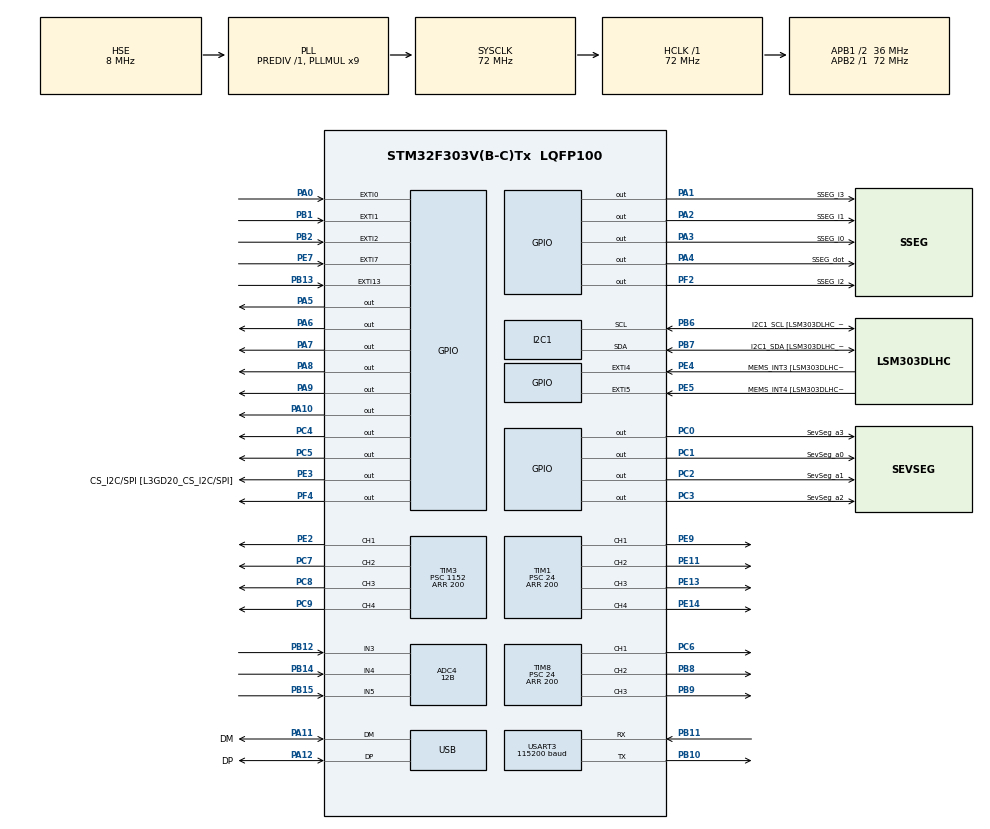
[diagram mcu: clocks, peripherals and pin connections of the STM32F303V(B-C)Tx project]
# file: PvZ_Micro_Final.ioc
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ADC4.Channel-2\#ChannelRegularConversion=ADC_CHANNEL_3
ADC4.Channel-3\#ChannelRegularConversion=ADC_CHANNEL_4
ADC4.Channel-5\#ChannelRegularConversion=ADC_CHANNEL_5
ADC4.ClockPrescaler=ADC_CLOCK_ASYNC_DIV1
ADC4.ContinuousConvMode=ENABLE
ADC4.DMAContinuousRequests=ENABLE
ADC4.DataAlign=ADC_DATAALIGN_RIGHT
ADC4.DiscontinuousConvMode=DISABLE
ADC4.EOCSelection=ADC_EOC_SINGLE_CONV
ADC4.EnableAnalogWatchDog1=false
ADC4.EnableAnalogWatchDog2=false
ADC4.EnableAnalogWatchDog3=false
ADC4.EnableInjectedConversion=ENABLE
ADC4.EnableRegularConversion=ENABLE
ADC4.ExternalTrigConv=ADC_SOFTWARE_START
ADC4.ExternalTrigConvEdge=ADC_EXTERNALTRIGCONVEDGE_NONE
ADC4.InjNumberOfConversion=0
ADC4.LowPowerAutoWait=DISABLE
ADC4.NbrOfConversion=3
ADC4.NbrOfConversionFlag=1
ADC4.Offset-2\#ChannelRegularConversion=0
ADC4.Offset-3\#ChannelRegularConversion=0
ADC4.Offset-5\#ChannelRegularConversion=0
ADC4.OffsetNumber-2\#ChannelRegularConversion=ADC_OFFSET_NONE
ADC4.OffsetNumber-3\#ChannelRegularConversion=ADC_OFFSET_NONE
ADC4.OffsetNumber-5\#ChannelRegularConversion=ADC_OFFSET_NONE
ADC4.Overrun=ADC_OVR_DATA_OVERWRITTEN
ADC4.Rank-2\#ChannelRegularConversion=1
ADC4.Rank-3\#ChannelRegularConversion=2
ADC4.Rank-5\#ChannelRegularConversion=3
ADC4.Resolution=ADC_RESOLUTION_12B
ADC4.SamplingTime-2\#ChannelRegularConversion=ADC_SAMPLETIME_601CYCLES_5
ADC4.SamplingTime-3\#ChannelRegularConversion=ADC_SAMPLETIME_601CYCLES_5
ADC4.SamplingTime-5\#ChannelRegularConversion=ADC_SAMPLETIME_601CYCLES_5
ADC4.ScanConvMode=ADC_SCAN_ENABLE
Dma.ADC4.0.Direction=DMA_PERIPH_TO_MEMORY
Dma.ADC4.0.Instance=DMA2_Channel2
Dma.ADC4.0.MemDataAlignment=DMA_MDATAALIGN_HALFWORD
Dma.ADC4.0.MemInc=DMA_MINC_ENABLE
Dma.ADC4.0.Mode=DMA_CIRCULAR
Dma.ADC4.0.PeriphDataAlignment=DMA_PDATAALIGN_HALFWORD
Dma.ADC4.0.PeriphInc=DMA_PINC_DISABLE
Dma.ADC4.0.Priority=DMA_PRIORITY_LOW
Dma.Request0=ADC4
I2C1.Timing-I2C=0x2000090E
Mcu.Family=STM32F3
Mcu.Name=STM32F303V(B-C)Tx
Mcu.Package=LQFP100
NVIC.DMA2_Channel2_IRQn=true\:0\:0\:false\:false\:true\:false
NVIC.EXTI0_IRQn=true\:2\:0\:true\:false\:true\:true
NVIC.EXTI15_10_IRQn=true\:2\:0\:true\:false\:true\:true
NVIC.EXTI1_IRQn=true\:2\:0\:true\:false\:true\:true
NVIC.EXTI2_TSC_IRQn=true\:2\:0\:true\:false\:true\:true
NVIC.EXTI9_5_IRQn=true\:2\:0\:true\:false\:true\:true
NVIC.PriorityGroup=NVIC_PRIORITYGROUP_2
NVIC.TIM2_IRQn=true\:2\:0\:true\:false\:true\:true
NVIC.TIM3_IRQn=true\:1\:0\:true\:false\:true\:true
NVIC.TIM4_IRQn=true\:3\:0\:true\:false\:true\:true
NVIC.USART3_IRQn=true\:0\:0\:false\:false\:true\:true
PA0.GPIO_PuPd=GPIO_PULLDOWN
PA0.Signal=GPXTI0
PA1.GPIO_Label=SSEG_i3
PA1.Signal=GPIO_Output
PA10.Signal=GPIO_Output
PA11.GPIO_Label=DM
PA11.Mode=Device
PA11.Signal=USB_DM
PA12.GPIO_Label=DP
PA12.Mode=Device
PA12.Signal=USB_DP
PA13.GPIO_Label=SWDIO
PA13.Mode=Serial_Wire
PA13.Signal=SYS_JTMS-SWDIO
PA14.GPIO_Label=SWCLK
PA14.Mode=Serial_Wire
PA14.Signal=SYS_JTCK-SWCLK
PA2.GPIO_Label=SSEG_i1
PA2.Signal=GPIO_Output
PA3.GPIO_Label=SSEG_i0
PA3.Signal=GPIO_Output
PA4.GPIO_Label=SSEG_dot
PA4.Signal=GPIO_Output
PA5.Signal=GPIO_Output
PA6.Signal=GPIO_Output
PA7.Signal=GPIO_Output
PA8.Signal=GPIO_Output
PA9.Signal=GPIO_Output
PB1.GPIO_PuPd=GPIO_PULLDOWN
PB1.Signal=GPXTI1
PB10.Mode=Asynchronous
PB10.Signal=USART3_TX
PB11.Mode=Asynchronous
PB11.Signal=USART3_RX
PB12.Mode=IN3-Single-Ended
PB12.Signal=ADC4_IN3
PB13.GPIO_PuPd=GPIO_PULLDOWN
PB13.Signal=GPXTI13
PB14.Mode=IN4-Single-Ended
PB14.Signal=ADC4_IN4
PB15.Mode=IN5-Single-Ended
PB15.Signal=ADC4_IN5
PB2.GPIO_PuPd=GPIO_PULLDOWN
PB2.Signal=GPXTI2
PB3.GPIO_Label=SWO
PB3.Signal=SYS_JTDO-TRACESWO
PB6.GPIO_Label=I2C1_SCL [LSM303DLHC_SCL]
PB6.Mode=I2C
PB6.Signal=I2C1_SCL
PB7.GPIO_Label=I2C1_SDA [LSM303DLHC_SDA]
PB7.Mode=I2C
PB7.Signal=I2C1_SDA
PB8.Signal=S_TIM8_CH2
PB9.Signal=S_TIM8_CH3
PC0.GPIO_Label=SevSeg_a3
PC0.Signal=GPIO_Output
PC1.GPIO_Label=SevSeg_a0
PC1.Signal=GPIO_Output
PC14-OSC32_IN.GPIO_Label=OSC32_IN
PC14-OSC32_IN.Signal=RCC_OSC32_IN
PC15-OSC32_OUT.GPIO_Label=OSC32_OUT
PC15-OSC32_OUT.Signal=RCC_OSC32_OUT
PC2.GPIO_Label=SevSeg_a1
PC2.Signal=GPIO_Output
PC3.GPIO_Label=SevSeg_a2
PC3.Signal=GPIO_Output
PC4.Signal=GPIO_Output
PC5.GPIO_PuPd=GPIO_PULLDOWN
PC5.Signal=GPIO_Output
PC6.Signal=S_TIM8_CH1
PC7.Signal=S_TIM3_CH2
PC8.Signal=S_TIM3_CH3
PC9.Signal=S_TIM3_CH4
PE11.Signal=S_TIM1_CH2
PE13.Signal=S_TIM1_CH3
PE14.Signal=S_TIM1_CH4
PE2.Signal=S_TIM3_CH1
PE3.GPIO_Label=CS_I2C/SPI [L3GD20_CS_I2C/SPI]
PE3.Signal=GPIO_Output
PE4.GPIO_Label=MEMS_INT3 [LSM303DLHC_INT1]
PE4.GPIO_ModeDefaultEXTI=GPIO_MODE_EVT_RISING
PE4.Signal=GPXTI4
PE5.GPIO_Label=MEMS_INT4 [LSM303DLHC_INT2]
PE5.GPIO_ModeDefaultEXTI=GPIO_MODE_EVT_RISING
PE5.Signal=GPXTI5
PE7.GPIO_PuPd=GPIO_PULLDOWN
PE7.Signal=GPXTI7
PE9.Signal=S_TIM1_CH1
PF0-OSC_IN.GPIO_Label=OSC_IN
PF0-OSC_IN.Mode=HSE-External-Clock-Source
PF0-OSC_IN.Signal=RCC_OSC_IN
PF1-OSC_OUT.GPIO_Label=OSC_OUT
PF1-OSC_OUT.Signal=RCC_OSC_OUT
PF2.GPIO_Label=SSEG_i2
PF2.Signal=GPIO_Output
PF4.Signal=GPIO_Output
ProjectManager.HeapSize=0x200
ProjectManager.StackSize=0x400
ProjectManager.TargetToolchain=SW4STM32
RCC.AHBFreq_Value=72000000
RCC.APB1CLKDivider=RCC_HCLK_DIV2
RCC.APB1Freq_Value=36000000
RCC.APB1TimFreq_Value=72000000
RCC.APB2Freq_Value=72000000
RCC.APB2TimFreq_Value=72000000
RCC.CortexFreq_Value=72000000
RCC.HCLKFreq_Value=72000000
RCC.HSE_VALUE=8000000
RCC.HSI_VALUE=8000000
RCC.LSE_VALUE=32768
RCC.PLLMUL=RCC_PLL_MUL9
RCC.PRESCALERUSB=RCC_USBCLKSOURCE_PLL_DIV1_5
RCC.SYSCLKFreq_VALUE=72000000
RCC.SYSCLKSourceVirtual=RCC_SYSCLKSOURCE_PLLCLK
RCC.USBFreq_Value=48000000
SH.S_TIM1_CH1.0=TIM1_CH1,PWM Generation1 CH1
SH.S_TIM1_CH2.0=TIM1_CH2,PWM Generation2 CH2
SH.S_TIM1_CH3.0=TIM1_CH3,PWM Generation3 CH3
SH.S_TIM1_CH4.0=TIM1_CH4,PWM Generation4 CH4
SH.S_TIM3_CH1.0=TIM3_CH1,PWM Generation1 CH1
SH.S_TIM3_CH2.0=TIM3_CH2,PWM Generation2 CH2
SH.S_TIM3_CH3.0=TIM3_CH3,PWM Generation3 CH3
SH.S_TIM3_CH4.0=TIM3_CH4,PWM Generation4 CH4
SH.S_TIM8_CH1.0=TIM8_CH1,PWM Generation1 CH1
SH.S_TIM8_CH2.0=TIM8_CH2,PWM Generation2 CH2
SH.S_TIM8_CH3.0=TIM8_CH3,PWM Generation3 CH3
TIM1.Channel-PWM\ Generation1\ CH1=TIM_CHANNEL_1
TIM1.Channel-PWM\ Generation2\ CH2=TIM_CHANNEL_2
TIM1.Channel-PWM\ Generation3\ CH3=TIM_CHANNEL_3
TIM1.Channel-PWM\ Generation4\ CH4=TIM_CHANNEL_4
TIM1.Period=200
TIM1.Prescaler=24
TIM1.RepetitionCounter=59999
TIM2.Period=63999
TIM2.Prescaler=1124
TIM3.Channel-PWM\ Generation1\ CH1=TIM_CHANNEL_1
TIM3.Channel-PWM\ Generation2\ CH2=TIM_CHANNEL_2
TIM3.Channel-PWM\ Generation3\ CH3=TIM_CHANNEL_3
TIM3.Channel-PWM\ Generation4\ CH4=TIM_CHANNEL_4
TIM3.Period=200
TIM3.Prescaler=1152
TIM4.Period=59999
TIM4.Prescaler=29
TIM8.Channel-PWM\ Generation1\ CH1=TIM_CHANNEL_1
TIM8.Channel-PWM\ Generation2\ CH2=TIM_CHANNEL_2
TIM8.Channel-PWM\ Generation3\ CH3=TIM_CHANNEL_3
TIM8.Period=200
TIM8.Prescaler=24
USART3.BaudRate=115200
USART3.Parity=PARITY_NONE
USART3.VirtualMode-Asynchronous=VM_ASYNC
VP_TIM1_VS_ClockSourceINT.Mode=Internal
VP_TIM2_VS_ClockSourceINT.Mode=Internal
VP_TIM3_VS_ClockSourceINT.Mode=Internal
VP_TIM4_VS_ClockSourceINT.Mode=Internal
VP_TIM8_VS_ClockSourceINT.Mode=Internal
board=STM32F3DISCOVERY

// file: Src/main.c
/**
  ******************************************************************************
  * @file           : main.c
  * @brief          : Main program body
  ******************************************************************************
  ** This notice applies to any and all portions of this file
  * that are not between comment pairs USER CODE BEGIN and
  * USER CODE END. Other portions of this file, whether
  * inserted by the user or by software development tools
  * are owned by their respective copyright owners.
  *
  * COPYRIGHT(c) 2019 STMicroelectronics
  *
  * Redistribution and use in source and binary forms, with or without modification,
  * are permitted provided that the following conditions are met:
  *   1. Redistributions of source code must retain the above copyright notice,
  *      this list of conditions and the following disclaimer.
  *   2. Redistributions in binary form must reproduce the above copyright notice,
  *      this list of conditions and the following disclaimer in the documentation
  *      and/or other materials provided with the distribution.
  *   3. Neither the name of STMicroelectronics nor the names of its contributors
  *      may be used to endorse or promote products derived from this software
  *      without specific prior written permission.
  *
  * THIS SOFTWARE IS PROVIDED BY THE COPYRIGHT HOLDERS AND CONTRIBUTORS "AS IS"
  * AND ANY EXPRESS OR IMPLIED WARRANTIES, INCLUDING, BUT NOT LIMITED TO, THE
  * IMPLIED WARRANTIES OF MERCHANTABILITY AND FITNESS FOR A PARTICULAR PURPOSE ARE
  * DISCLAIMED. IN NO EVENT SHALL THE COPYRIGHT HOLDER OR CONTRIBUTORS BE LIABLE
  * FOR ANY DIRECT, INDIRECT, INCIDENTAL, SPECIAL, EXEMPLARY, OR CONSEQUENTIAL
  * DAMAGES (INCLUDING, BUT NOT LIMITED TO, PROCUREMENT OF SUBSTITUTE GOODS OR
  * SERVICES; LOSS OF USE, DATA, OR PROFITS; OR BUSINESS INTERRUPTION) HOWEVER
  * CAUSED AND ON ANY THEORY OF LIABILITY, WHETHER IN CONTRACT, STRICT LIABILITY,
  * OR TORT (INCLUDING NEGLIGENCE OR OTHERWISE) ARISING IN ANY WAY OUT OF THE USE
  * OF THIS SOFTWARE, EVEN IF ADVISED OF THE POSSIBILITY OF SUCH DAMAGE.
  *
  ******************************************************************************
  */
#include "main.h"
#include "stm32f3xx_hal.h"
#include "adc.h"
#include "dma.h"
#include "i2c.h"
#include "tim.h"
#include "usart.h"
#include "usb.h"
#include "gpio.h"

/* USER CODE BEGIN Includes */
#include "LiquidCrystal.h"
#include "ui.h"
#include "gameBase.h"
/* USER CODE END Includes */

/* USER CODE BEGIN PV */
/* Private variables ---------------------------------------------------------*/
//UART

#ifdef __GNUC__
	#define PUTCHAR_PROTOTYPE int __io_putchar(int ch)
#else
	#define PUTCHAR_PROTOTYPE int fputc(int ch, FILE *f)
#endif

PUTCHAR_PROTOTYPE
{
	HAL_UART_Transmit(&huart3, (uint8_t *)&ch, 1, 1000); // change &uart1 accordingly
	return ch;
}
/* USER CODE END PV */

void SystemClock_Config(void);

/* USER CODE BEGIN PFP */
/* Private function prototypes -----------------------------------------------*/

/* USER CODE END PFP */

/* USER CODE BEGIN 0 */
uint16_t potanLightRand[3];
uint8_t uartRecivedData;
/* USER CODE END 0 */

int main(void)
{

  /* MCU Configuration----------------------------------------------------------*/

  /* Reset of all peripherals, Initializes the Flash interface and the Systick. */
  HAL_Init();

  /* Configure the system clock */
  SystemClock_Config();

  /* Initialize all configured peripherals */
  MX_GPIO_Init();
  MX_DMA_Init();
  MX_I2C1_Init();
  MX_USB_PCD_Init();
  MX_TIM2_Init();
  MX_TIM3_Init();
  MX_ADC4_Init();
  MX_USART3_UART_Init();
  MX_TIM4_Init();
  MX_TIM1_Init();
  MX_TIM8_Init();
  /* USER CODE BEGIN 2 */

	HAL_TIM_PWM_Start(&htim1, TIM_CHANNEL_1);
	HAL_TIM_PWM_Start(&htim1, TIM_CHANNEL_2);
	HAL_TIM_PWM_Start(&htim1, TIM_CHANNEL_3);
	HAL_TIM_PWM_Start(&htim1, TIM_CHANNEL_4);

	HAL_TIM_PWM_Start(&htim3, TIM_CHANNEL_1);
	HAL_TIM_PWM_Start(&htim3, TIM_CHANNEL_2);
	HAL_TIM_PWM_Start(&htim3, TIM_CHANNEL_3);
	HAL_TIM_PWM_Start(&htim3, TIM_CHANNEL_4);

	HAL_TIM_PWM_Start(&htim8, TIM_CHANNEL_1);
	HAL_TIM_PWM_Start(&htim8, TIM_CHANNEL_2);
	HAL_TIM_PWM_Start(&htim8, TIM_CHANNEL_3);

  LiquidCrystal(GPIOD, GPIO_PIN_8, GPIO_PIN_9, GPIO_PIN_10, GPIO_PIN_11, GPIO_PIN_12, GPIO_PIN_13, GPIO_PIN_14);
  begin(20,4);
  lcd_inital();

  HAL_TIM_Base_Start_IT(&htim2);
  HAL_TIM_Base_Start_IT(&htim3);
  HAL_TIM_Base_Start_IT(&htim4);
  HAL_UART_Receive_IT(&huart3, &uartRecivedData, 1);

  HAL_ADC_Start_DMA(&hadc4, potanLightRand, 3);

  //----------------------
  /* USER CODE END 2 */

  /* Infinite loop */
  while (1)
  {

  }

}

void SystemClock_Config(void)
{

  RCC_OscInitTypeDef RCC_OscInitStruct;
  RCC_ClkInitTypeDef RCC_ClkInitStruct;
  RCC_PeriphCLKInitTypeDef PeriphClkInit;

    /**Initializes the CPU, AHB and APB busses clocks
    */
  RCC_OscInitStruct.OscillatorType = RCC_OSCILLATORTYPE_HSI|RCC_OSCILLATORTYPE_HSE;
  RCC_OscInitStruct.HSEState = RCC_HSE_BYPASS;
  RCC_OscInitStruct.HSEPredivValue = RCC_HSE_PREDIV_DIV1;
  RCC_OscInitStruct.HSIState = RCC_HSI_ON;
  RCC_OscInitStruct.HSICalibrationValue = 16;
  RCC_OscInitStruct.PLL.PLLState = RCC_PLL_ON;
  RCC_OscInitStruct.PLL.PLLSource = RCC_PLLSOURCE_HSE;
  RCC_OscInitStruct.PLL.PLLMUL = RCC_PLL_MUL9;
  if (HAL_RCC_OscConfig(&RCC_OscInitStruct) != HAL_OK)
  {
    _Error_Handler(__FILE__, __LINE__);
  }

    /**Initializes the CPU, AHB and APB busses clocks
    */
  RCC_ClkInitStruct.ClockType = RCC_CLOCKTYPE_HCLK|RCC_CLOCKTYPE_SYSCLK
                              |RCC_CLOCKTYPE_PCLK1|RCC_CLOCKTYPE_PCLK2;
  RCC_ClkInitStruct.SYSCLKSource = RCC_SYSCLKSOURCE_PLLCLK;
  RCC_ClkInitStruct.AHBCLKDivider = RCC_SYSCLK_DIV1;
  RCC_ClkInitStruct.APB1CLKDivider = RCC_HCLK_DIV2;
  RCC_ClkInitStruct.APB2CLKDivider = RCC_HCLK_DIV1;

  if (HAL_RCC_ClockConfig(&RCC_ClkInitStruct, FLASH_LATENCY_2) != HAL_OK)
  {
    _Error_Handler(__FILE__, __LINE__);
  }

  PeriphClkInit.PeriphClockSelection = RCC_PERIPHCLK_USB|RCC_PERIPHCLK_USART3
                              |RCC_PERIPHCLK_I2C1|RCC_PERIPHCLK_TIM1
                              |RCC_PERIPHCLK_TIM8|RCC_PERIPHCLK_ADC34;
  PeriphClkInit.Usart3ClockSelection = RCC_USART3CLKSOURCE_PCLK1;
  PeriphClkInit.Adc34ClockSelection = RCC_ADC34PLLCLK_DIV1;
  PeriphClkInit.I2c1ClockSelection = RCC_I2C1CLKSOURCE_HSI;
  PeriphClkInit.USBClockSelection = RCC_USBCLKSOURCE_PLL_DIV1_5;
  PeriphClkInit.Tim1ClockSelection = RCC_TIM1CLK_HCLK;
  PeriphClkInit.Tim8ClockSelection = RCC_TIM8CLK_HCLK;
  if (HAL_RCCEx_PeriphCLKConfig(&PeriphClkInit) != HAL_OK)
  {
    _Error_Handler(__FILE__, __LINE__);
  }

    /**Configure the Systick interrupt time
    */
  HAL_SYSTICK_Config(HAL_RCC_GetHCLKFreq()/1000);

    /**Configure the Systick
    */
  HAL_SYSTICK_CLKSourceConfig(SYSTICK_CLKSOURCE_HCLK);

  /* SysTick_IRQn interrupt configuration */
  HAL_NVIC_SetPriority(SysTick_IRQn, 0, 0);
}

void _Error_Handler(char *file, int line)
{
  while(1)
  {
  }
}

/************************ (C) COPYRIGHT STMicroelectronics *****END OF FILE****/
